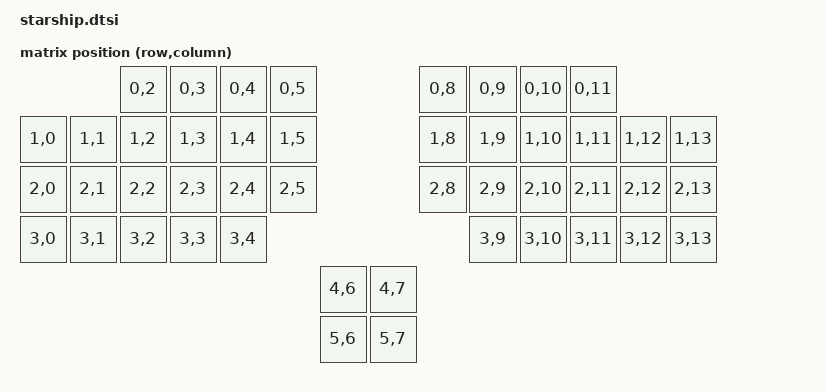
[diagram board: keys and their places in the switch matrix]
#include <dt-bindings/zmk/matrix_transform.h>
#include "starship-layouts.dtsi"

&physical_layout0 {
	transform = <&default_transform>;
};

/ {
	chosen {
		zmk,kscan = &kscan0;
		zmk,physical-layout = &physical_layout0;
	};
	
	default_transform: keymap_transform0 {
		compatible = "zmk,matrix-transform";
		columns = <14>;
		rows = <6>;
		map = <
			                RC(0,2) RC(0,3) RC(0,4) RC(0,5)                  RC(0,8) RC(0,9) RC(0,10) RC(0,11)
			RC(1,0) RC(1,1) RC(1,2) RC(1,3) RC(1,4) RC(1,5)                  RC(1,8) RC(1,9) RC(1,10) RC(1,11) RC(1,12) RC(1,13)
			RC(2,0) RC(2,1) RC(2,2) RC(2,3) RC(2,4) RC(2,5)                  RC(2,8) RC(2,9) RC(2,10) RC(2,11) RC(2,12) RC(2,13)
			RC(3,0) RC(3,1) RC(3,2) RC(3,3) RC(3,4)                                  RC(3,9) RC(3,10) RC(3,11) RC(3,12) RC(3,13)
			                                                RC(4,6)  RC(4,7)
			                                                RC(5,6)  RC(5,7)
		>;
	};

	kscan0: kscan0 {
		compatible = "zmk,kscan-gpio-matrix";
		diode-direction = "col2row";
		wakeup-source;
	};
};
